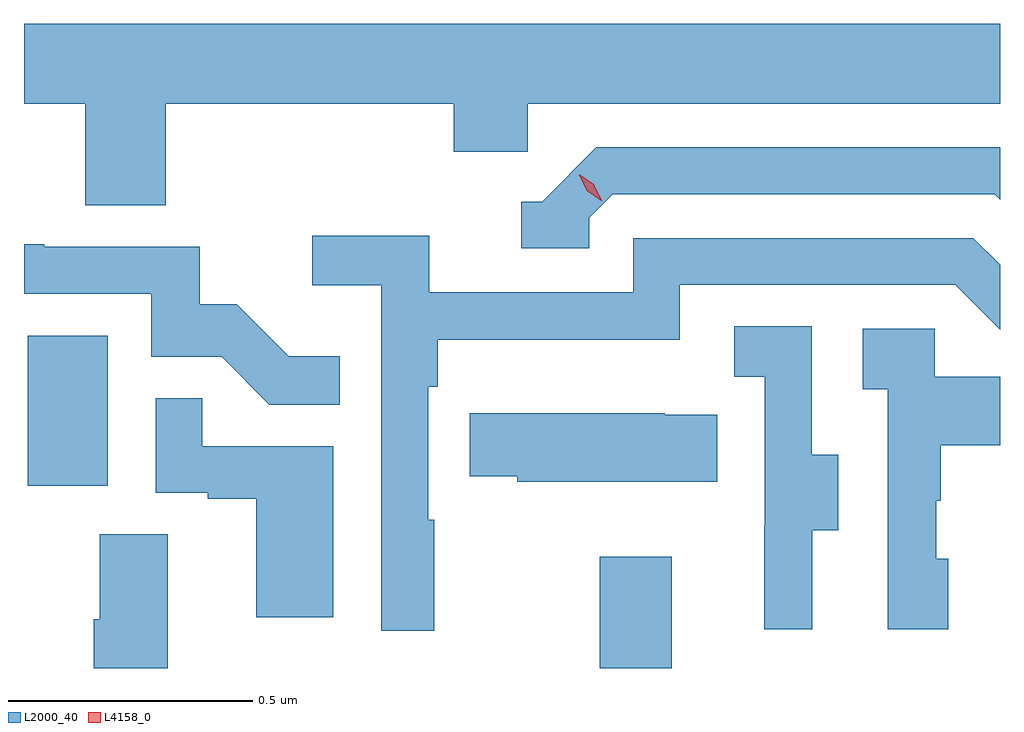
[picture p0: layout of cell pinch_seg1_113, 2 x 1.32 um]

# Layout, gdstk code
import gdstk
lib = gdstk.Library(unit=1e-6, precision=1e-09)
def R(c, l, rs):  # rectangles x0, y0, x1, y1
    for r in rs: c.add(gdstk.rectangle(r[:2], r[2:], *l))
def P(c, l, *ps):  # polygons
    for p in ps: c.add(gdstk.Polygon(p, *l))
L2000_40 = (2000, 40)
L4158_0 = (4158, 0)

pinch_seg1_113 = lib.new_cell('pinch_seg1_113')
R(pinch_seg1_113, L2000_40, [(1054.27,561.232,1054.417,561.46), (1053.098,561.606,1053.262,561.913)])
P(pinch_seg1_113, L2000_40, [(1053.38,562.388),(1053.971,562.388),(1053.971,562.29),(1054.122,562.29),(1054.122,562.388),(1055.09,562.388),(1055.09,562.552),(1053.09,562.552),(1053.09,562.388),(1053.215,562.388),(1053.215,562.18),(1053.38,562.18)],
  [(1054.248,562.155),(1054.296,562.203),(1055.079,562.203),(1055.09,562.192),(1055.09,562.299),(1054.263,562.299),(1054.152,562.188),(1054.109,562.188),(1054.109,562.092),(1054.248,562.092)],
  [(1053.931,561.536),(1053.918,561.536),(1053.918,561.809),(1053.938,561.809),(1053.938,561.905),(1054.434,561.905),(1054.434,562.017),(1054.998,562.017),(1055.09,561.925),(1055.09,562.058),(1055.035,562.113),(1054.338,562.113),(1054.338,562.002),(1053.92,562.002),(1053.92,562.118),(1053.681,562.118),(1053.681,562.016),(1053.822,562.016),(1053.822,561.309),(1053.931,561.309)],
  [(1053.737,561.871),(1053.633,561.871),(1053.526,561.978),(1053.45,561.978),(1053.45,562.095),(1053.131,562.095),(1053.131,562.1),(1053.09,562.1),(1053.09,561.999),(1053.351,561.999),(1053.351,561.87),(1053.495,561.87),(1053.593,561.772),(1053.737,561.772)],
  [(1054.705,561.514),(1054.759,561.514),(1054.759,561.669),(1054.704,561.669),(1054.704,561.932),(1054.545,561.932),(1054.545,561.829),(1054.608,561.829),(1054.608,561.525),(1054.607,561.525),(1054.607,561.312),(1054.705,561.312)],
  [(1054.984,561.456),(1054.959,561.456),(1054.959,561.575),(1054.969,561.575),(1054.969,561.689),(1055.09,561.689),(1055.09,561.829),(1054.956,561.829),(1054.956,561.927),(1054.809,561.927),(1054.809,561.803),(1054.86,561.803),(1054.86,561.312),(1054.984,561.312)],
  [(1053.724,561.687),(1053.455,561.687),(1053.455,561.785),(1053.36,561.785),(1053.36,561.591),(1053.467,561.591),(1053.467,561.579),(1053.566,561.579),(1053.566,561.336),(1053.724,561.336)],
  [(1054.511,561.751),(1054.403,561.751),(1054.403,561.754),(1054.003,561.754),(1054.003,561.625),(1054.101,561.625),(1054.101,561.614),(1054.511,561.614)],
  [(1053.385,561.506),(1053.245,561.506),(1053.245,561.332),(1053.233,561.332),(1053.233,561.232),(1053.385,561.232)])
P(pinch_seg1_113, L4158_0, [(1054.273,562.19),(1054.243,562.21),(1054.228,562.243),(1054.228,562.244),(1054.228,562.244),(1054.258,562.223),(1054.274,562.19),(1054.274,562.19)])

lib.write_gds('pinch_seg1_113.gds')
